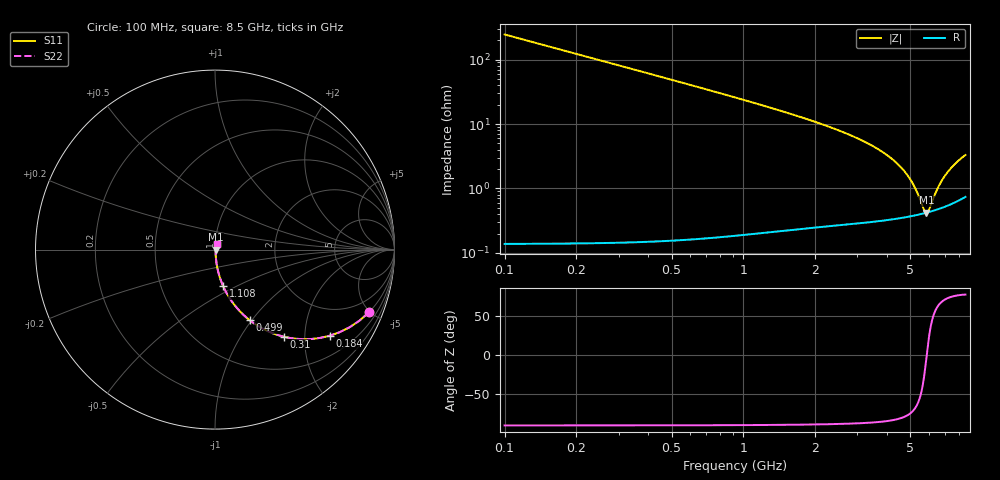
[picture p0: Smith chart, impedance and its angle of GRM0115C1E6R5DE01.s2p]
!Murata Part Number: GRM0115C1E6R5DE01
!These Parameters are Measured in Series Mode Connection
!Data Generated on Mar 30, 2021
!  o--ll--o
!Port1  Port2
!  o------o
!Operation Temp=25[degC], DC Bias Voltage=0[V]
!Freq. Start=100[MHz] Stop=9[GHz] 401[Steps]
# Hz S RI R 50
!Freq.(Hz) S11(Real) S11(Imag) S21(Real) S21(Imag) S12(Real) S12(Imag) S22(Real) S22(Imag)
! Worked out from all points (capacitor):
!   401 points, 100 MHz to 8.5 GHz, reference 50 ohm
!   read as one part in series: C = 6.5 pF near 142 MHz
!   lowest |Z| = 422 mohm at 5.833 GHz (marker M1)
!   series resonance near 5.856 GHz, so ESL is about 110 pH
!   S11 on the Smith chart (normalised r, x): 100 MHz: 1.00, -4.90; 184 MHz: 1.00, -2.66; 310 MHz: 1.00, -1.57; 499 MHz: 1.00, -0.97; 1.108 GHz: 1.00, -0.43; 8.5 GHz: 1.01, +0.06
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1e8  0.8568 -0.35  0.1432 0.35  0.1432 0.35  0.8568 -0.35
1.84e8  0.6384 -0.4799  0.3616 0.4799  0.3616 0.4799  0.6384 -0.4799
2.47e8  0.4946 -0.4993  0.5054 0.4993  0.5054 0.4993  0.4946 -0.4993
3.1e8  0.3829 -0.4852  0.6171 0.4852  0.6171 0.4852  0.3829 -0.4852
3.94e8  0.2771 -0.4463  0.7229 0.4463  0.7229 0.4463  0.2771 -0.4463
4.99e8  0.1923 -0.3925  0.8077 0.3925  0.8077 0.3925  0.1923 -0.3925
7.3e8  0.0993 -0.2965  0.9007 0.2965  0.9007 0.2965  0.0993 -0.2965
1.108e9  0.0449 -0.2026  0.9551 0.2026  0.9551 0.2026  0.0449 -0.2026
1.507e9  0.0244 -0.1472  0.9756 0.1472  0.9756 0.1472  0.0244 -0.1472
2.914e9  0.00674 -0.0624  0.9933 0.0624  0.9933 0.0624  0.00674 -0.0624
4.3e9  0.00403 -0.026  0.996 0.026  0.996 0.026  0.00403 -0.026
4.72e9  0.00387 -0.0181  0.9961 0.0181  0.9961 0.0181  0.00387 -0.0181
5.056e9  0.00386 -0.0123  0.9961 0.0123  0.9961 0.0123  0.00386 -0.0123
5.308e9  0.00392 -0.00819  0.9961 0.00819  0.9961 0.00819  0.00392 -0.00819
5.707e9  0.00411 -0.00214  0.9959 0.00214  0.9959 0.00214  0.00411 -0.00214
5.833e9  0.00419 -0.000325  0.9958 0.000325  0.9958 0.000325  0.00419 -0.000325
5.98e9  0.0043 0.00175  0.9957 -0.00175  0.9957 -0.00175  0.0043 0.00175
6.337e9  0.00462 0.00659  0.9954 -0.00659  0.9954 -0.00659  0.00462 0.00659
6.568e9  0.00487 0.0096  0.9951 -0.0096  0.9951 -0.0096  0.00487 0.0096
7.114e9  0.0056 0.0163  0.9944 -0.0163  0.9944 -0.0163  0.0056 0.0163
7.744e9  0.00668 0.0236  0.9933 -0.0236  0.9933 -0.0236  0.00668 0.0236
8.5e9  0.00836 0.0317  0.9916 -0.0317  0.9916 -0.0317  0.00836 0.0317
